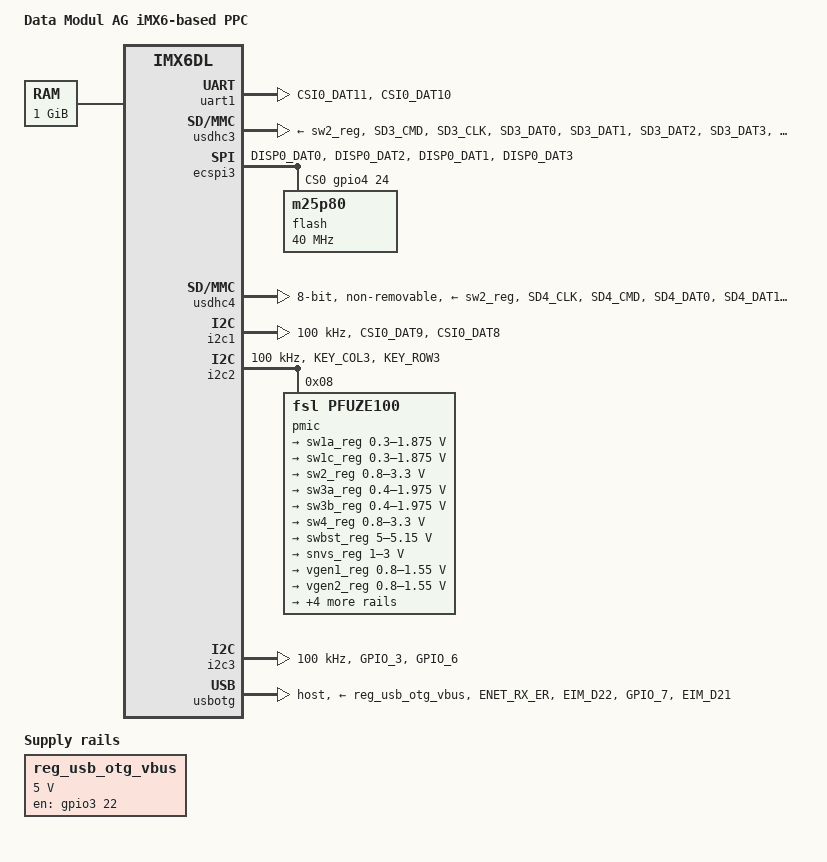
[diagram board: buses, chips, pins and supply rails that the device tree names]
/*
 * Copyright 2011 Freescale Semiconductor, Inc.
 * Copyright 2011 Linaro Ltd.
 * Copyright 2014 Data Modul AG, Silvio Fricke <silvio.fricke@gmail.com>
 *
 * The code contained herein is licensed under the GNU General Public
 * License. You may obtain a copy of the GNU General Public License
 * Version 2 or later at the following locations:
 *
 * http://www.opensource.org/licenses/gpl-license.html
 * http://www.gnu.org/copyleft/gpl.html
 */
/dts-v1/;

#include <dt-bindings/gpio/gpio.h>
#include "imx6dl.dtsi"

/ {
	model = "Data Modul AG iMX6-based PPC";
	compatible = "dmo,imx6-ppc", "fsl,imx6dl";

	chosen {
		linux,stdout-path = &uart1;
	};

	memory {
		reg = <0x10000000 0x40000000>;
	};

	regulators {
		compatible = "simple-bus";

		#address-cells = <1>;
		#size-cells = <0>;

		reg_usb_otg_vbus: regulator@1 {
			compatible = "regulator-fixed";
			reg = <0>;
			regulator-name = "usb_otg_vbus";
			regulator-min-microvolt = <5000000>;
			regulator-max-microvolt = <5000000>;
			gpio = <&gpio3 22 GPIO_ACTIVE_LOW>;
			enable-active-high;
		};
	};
};

&iomuxc {
	pinctrl-names = "default";
	pinctrl-0 = <&pinctrl_hog>;

	imx6s-dmp-imx6-ppc {
		pinctrl_hog: hoggrp {
			fsl,pins = <
				/* func down 22K PU*/
				MX6QDL_PAD_NANDF_D6__GPIO2_IO06		0x1f0b0
				/* func up 22K PU*/
				MX6QDL_PAD_NANDF_D7__GPIO2_IO07		0x1f0b0
				/* jog dial outa */
				MX6QDL_PAD_CSI0_DAT12__GPIO5_IO30	0x1b0b0
				/* jog dial outb */
				MX6QDL_PAD_CSI0_DAT13__GPIO5_IO31	0x1b0b0
				/* job dial push */
				MX6QDL_PAD_CSI0_DAT14__GPIO6_IO00	0x1b0b0
				/* hwid 0 */
				MX6QDL_PAD_SD2_CMD__GPIO1_IO11		0x1b0b0
				/* hwid 1 */
				MX6QDL_PAD_SD2_CLK__GPIO1_IO10		0x1b0b0
				/* hwid 2 */
				MX6QDL_PAD_SD2_DAT0__GPIO1_IO15		0x1b0b0
				/* hwid 3 */
				MX6QDL_PAD_SD2_DAT1__GPIO1_IO14		0x1b0b0
				/* hwid 4 */
				MX6QDL_PAD_SD2_DAT2__GPIO1_IO13		0x1b0b0
				/* hwid 5 */
				MX6QDL_PAD_SD2_DAT3__GPIO1_IO12         0x1b0b0
				/* hwid 6 */
				MX6QDL_PAD_SD1_CMD__GPIO1_IO18		0x1b0b0
				/* hwid 7 */
				MX6QDL_PAD_SD1_CLK__GPIO1_IO20          0x1b0b0
				/* dram id 0 */
				MX6QDL_PAD_EIM_D16__GPIO3_IO16		0x1b0b0
				/* dram id 1 */
				MX6QDL_PAD_EIM_D17__GPIO3_IO17		0x1b0b0
				/* audmux */
				MX6QDL_PAD_CSI0_DAT7__AUD3_RXD		0x1b0b0
				MX6QDL_PAD_CSI0_DAT4__AUD3_TXC		0x1b0b0
				MX6QDL_PAD_CSI0_DAT5__AUD3_TXD		0x1b0b0
				MX6QDL_PAD_CSI0_DAT6__AUD3_TXFS		0x1b0b0
				/* stgl500codec */
				MX6QDL_PAD_GPIO_0__CCM_CLKO1		0x1b0b0
				/* pcie */
				MX6QDL_PAD_EIM_D19__GPIO3_IO19		0x1b0b0
				MX6QDL_PAD_CSI0_DATA_EN__GPIO5_IO20	0x1b0b0
				MX6QDL_PAD_GPIO_17__GPIO7_IO12		0x1b0b0
				MX6QDL_PAD_GPIO_19__GPIO4_IO05		0x1b0b0
				/* backlight */
				MX6QDL_PAD_SD1_DAT3__PWM1_OUT		0x1b0b0
				MX6QDL_PAD_ENET_TXD0__GPIO1_IO30	0x1b0b0
				/* uart3 */
				MX6QDL_PAD_EIM_D25__UART3_RX_DATA	0x1b0b0
				MX6QDL_PAD_EIM_D24__UART3_TX_DATA	0x1b0b0
				/* usbh1 */
				MX6QDL_PAD_EIM_D30__USB_H1_OC		0x1b0b0
				/* can1 */
				MX6QDL_PAD_GPIO_8__FLEXCAN1_RX		0x1b0b0
				MX6QDL_PAD_KEY_COL2__FLEXCAN1_TX	0x1b0b0
				/* can2 */
				MX6QDL_PAD_KEY_ROW4__FLEXCAN2_RX	0x1b0b0
				MX6QDL_PAD_KEY_COL4__FLEXCAN2_TX	0x1b0b0
			>;
		};

		pinctrl_uart1: uart1grp {
			fsl,pins = <
				MX6QDL_PAD_CSI0_DAT11__UART1_RX_DATA	0x1b0b0
				MX6QDL_PAD_CSI0_DAT10__UART1_TX_DATA	0x1b0b0
			>;
		};

		pinctrl_ecspi3: ecspi3grp {
			fsl,pins = <
				MX6QDL_PAD_DISP0_DAT0__ECSPI3_SCLK	0x1b0b0
				MX6QDL_PAD_DISP0_DAT2__ECSPI3_MISO	0x1b0b0
				MX6QDL_PAD_DISP0_DAT1__ECSPI3_MOSI	0x1b0b0
				MX6QDL_PAD_DISP0_DAT3__GPIO4_IO24	0x1b0b0
			>;
		};

		pinctrl_usdhc3: usdhc3grp {
			fsl,pins = <
				MX6QDL_PAD_SD3_CMD__SD3_CMD		0x1b0b0
				MX6QDL_PAD_SD3_CLK__SD3_CLK		0x1b0b1
				MX6QDL_PAD_SD3_DAT0__SD3_DATA0		0x1b0b0
				MX6QDL_PAD_SD3_DAT1__SD3_DATA1		0x1b0b0
				MX6QDL_PAD_SD3_DAT2__SD3_DATA2		0x1b0b0
				MX6QDL_PAD_SD3_DAT3__SD3_DATA3		0x1b0b0
				MX6QDL_PAD_NANDF_D0__GPIO2_IO00		0x1b0b0 /* CD */
				MX6QDL_PAD_NANDF_D1__GPIO2_IO01		0x1b0b0 /* WP */
			>;
		};

		pinctrl_usdhc4: usdhc4grp {
			fsl,pins = <
				MX6QDL_PAD_SD4_CLK__SD4_CLK		0x1b0b1
				MX6QDL_PAD_SD4_CMD__SD4_CMD		0x1b0b0
				MX6QDL_PAD_SD4_DAT0__SD4_DATA0		0x1b0b0
				MX6QDL_PAD_SD4_DAT1__SD4_DATA1		0x1b0b0
				MX6QDL_PAD_SD4_DAT2__SD4_DATA2		0x1b0b0
				MX6QDL_PAD_SD4_DAT3__SD4_DATA3		0x1b0b0
				MX6QDL_PAD_SD4_DAT4__SD4_DATA4		0x1b0b0
				MX6QDL_PAD_SD4_DAT5__SD4_DATA5		0x1b0b0
				MX6QDL_PAD_SD4_DAT6__SD4_DATA6		0x1b0b0
				MX6QDL_PAD_SD4_DAT7__SD4_DATA7		0x1b0b0
			>;
		};

		pinctrl_i2c1: i2c1grp {
			fsl,pins = <
				MX6QDL_PAD_CSI0_DAT9__I2C1_SCL		0x4001b8b0
				MX6QDL_PAD_CSI0_DAT8__I2C1_SDA		0x4001b8b0
			>;
		};

		pinctrl_i2c2: i2c2grp {
			fsl,pins = <
				MX6QDL_PAD_KEY_COL3__I2C2_SCL		0x4001b8b0
				MX6QDL_PAD_KEY_ROW3__I2C2_SDA		0x4001b8b0
			>;
		};

		pinctrl_i2c3: i2c3grp {
			fsl,pins = <
				MX6QDL_PAD_GPIO_3__I2C3_SCL		0x4001b8b0
				MX6QDL_PAD_GPIO_6__I2C3_SDA		0x4001b8b0
			>;
		};

		pinctrl_usbotg: usbotggrp {
			fsl,pins = <
				MX6QDL_PAD_ENET_RX_ER__USB_OTG_ID	0x1b0b0
				MX6QDL_PAD_EIM_D22__GPIO3_IO22		0x1b0b0
				MX6QDL_PAD_GPIO_7__GPIO1_IO07		0x1b0b0
				MX6QDL_PAD_EIM_D21__USB_OTG_OC		0x1b0b0
			>;
		};

	};
};

&uart1 {
	pinctrl-names = "default";
	pinctrl-0 = <&pinctrl_uart1>;
	status = "okay";
};
&usdhc3 {
	pinctrl-names = "default";
	pinctrl-0 = <&pinctrl_usdhc3>;
	vmmc-supply = <&sw2_reg>;
	cd-gpios = <&gpio2 0 GPIO_ACTIVE_LOW>;
	/* WP cannot be really used on uSD socket */
	wp-gpios = <&gpio2 1 GPIO_ACTIVE_HIGH>;
	status = "okay";
};

&ecspi3 {
	pinctrl-names = "default";
	pinctrl-0 = <&pinctrl_ecspi3>;
	fsl,spi-num-chipselects = <1>;
	cs-gpios = <&gpio4 24 GPIO_ACTIVE_HIGH>;
	status = "okay";

	flash: m25p80@0 {
		compatible = "m25p80";
		spi-max-frequency = <40000000>;
		reg = <0>;
		#address-cells = <1>;
		#size-cells = <1>;
	};
};

&usdhc4 {
	pinctrl-names = "default";
	pinctrl-0 = <&pinctrl_usdhc4>;
	vmmc-supply = <&sw2_reg>;
	non-removable;
	bus-width = <8>;
	status = "okay";
};

&i2c1 {
	pinctrl-names = "default";
	pinctrl-0 = <&pinctrl_i2c1>;
	clock-frequency = <100000>;
	status = "okay";
};

&i2c2 {
	pinctrl-names = "default";
	pinctrl-0 = <&pinctrl_i2c2>;
	clock-frequency = <100000>;
	status = "okay";

	pmic: pfuze100@08 {
		compatible = "fsl,pfuze100";
		reg = <0x08>;

		regulators {
			sw1a_reg: sw1ab {
				regulator-min-microvolt = <300000>;
				regulator-max-microvolt = <1875000>;
				regulator-boot-on;
				regulator-always-on;
				regulator-ramp-delay = <6250>;
			};

			sw1c_reg: sw1c {
				regulator-min-microvolt = <300000>;
				regulator-max-microvolt = <1875000>;
				regulator-boot-on;
				regulator-always-on;
				regulator-ramp-delay = <6250>;
			};

			sw2_reg: sw2 {
				regulator-min-microvolt = <800000>;
				regulator-max-microvolt = <3300000>;
				regulator-boot-on;
			};

			sw3a_reg: sw3a {
				regulator-min-microvolt = <400000>;
				regulator-max-microvolt = <1975000>;
				regulator-boot-on;
				regulator-always-on;
			};

			sw3b_reg: sw3b {
				regulator-min-microvolt = <400000>;
				regulator-max-microvolt = <1975000>;
				regulator-boot-on;
				regulator-always-on;
			};

			sw4_reg: sw4 {
				regulator-min-microvolt = <800000>;
				regulator-max-microvolt = <3300000>;
			};

			swbst_reg: swbst {
				regulator-min-microvolt = <5000000>;
				regulator-max-microvolt = <5150000>;
			};

			snvs_reg: vsnvs {
				regulator-min-microvolt = <1000000>;
				regulator-max-microvolt = <3000000>;
				regulator-boot-on;
				regulator-always-on;
			};

			vref_reg: vrefddr {
				regulator-boot-on;
				regulator-always-on;
			};

			vgen1_reg: vgen1 {
				regulator-min-microvolt = <800000>;
				regulator-max-microvolt = <1550000>;
				regulator-always-on;
			};

			vgen2_reg: vgen2 {
				regulator-min-microvolt = <800000>;
				regulator-max-microvolt = <1550000>;
				regulator-always-on;
			};

			vgen3_reg: vgen3 {
				regulator-min-microvolt = <1800000>;
				regulator-max-microvolt = <3300000>;
				regulator-always-on;
			};

			vgen4_reg: vgen4 {
				regulator-min-microvolt = <1800000>;
				regulator-max-microvolt = <3300000>;
				regulator-always-on;
			};

			vgen5_reg: vgen5 {
				regulator-min-microvolt = <1800000>;
				regulator-max-microvolt = <3300000>;
				regulator-always-on;
			};

			vgen6_reg: vgen6 {
				regulator-min-microvolt = <1800000>;
				regulator-max-microvolt = <3300000>;
				regulator-always-on;
			};
		};
	};
};

&i2c3 {
	pinctrl-names = "default";
	pinctrl-0 = <&pinctrl_i2c3>;
	clock-frequency = <100000>;
	status = "okay";
};

&usbotg {
	pinctrl-names = "default";
	pinctrl-0 = <&pinctrl_usbotg>;
	vbus-supply = <&reg_usb_otg_vbus>;
	disable-over-current;
	dr_mode = "host";
	status = "okay";
};

